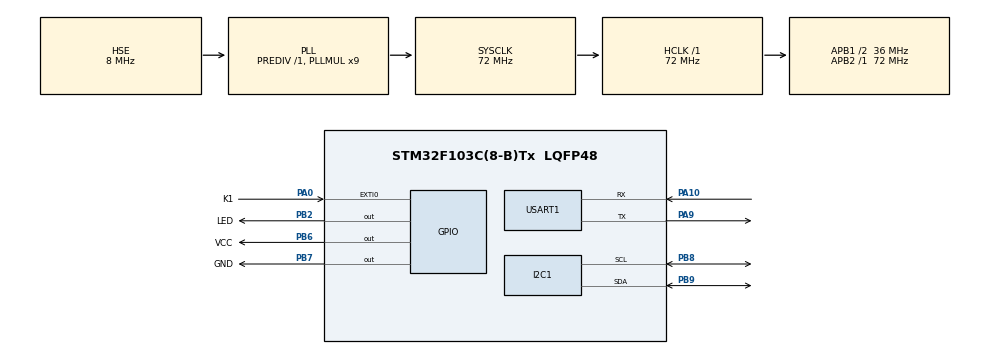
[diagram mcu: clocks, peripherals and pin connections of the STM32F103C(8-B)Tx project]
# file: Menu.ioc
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I2C1.I2C_Mode=I2C_Fast
Mcu.Family=STM32F1
Mcu.Name=STM32F103C(8-B)Tx
Mcu.Package=LQFP48
NVIC.EXTI0_IRQn=true\:0\:0\:false\:false\:true\:true\:true\:true
NVIC.PriorityGroup=NVIC_PRIORITYGROUP_4
PA0-WKUP.GPIO_Label=K1
PA0-WKUP.GPIO_PuPd=GPIO_PULLDOWN
PA0-WKUP.Signal=GPXTI0
PA10.Mode=Asynchronous
PA10.Signal=USART1_RX
PA13.Mode=Serial_Wire
PA13.Signal=SYS_JTMS-SWDIO
PA14.Mode=Serial_Wire
PA14.Signal=SYS_JTCK-SWCLK
PA9.Mode=Asynchronous
PA9.Signal=USART1_TX
PB2.GPIO_Label=LED
PB2.Signal=GPIO_Output
PB6.GPIO_Label=VCC
PB6.GPIO_Speed=GPIO_SPEED_FREQ_LOW
PB6.PinState=GPIO_PIN_SET
PB6.Signal=GPIO_Output
PB7.GPIO_Label=GND
PB7.Signal=GPIO_Output
PB8.Mode=I2C
PB8.Signal=I2C1_SCL
PB9.Mode=I2C
PB9.Signal=I2C1_SDA
PD0-OSC_IN.Mode=HSE-External-Oscillator
PD0-OSC_IN.Signal=RCC_OSC_IN
PD1-OSC_OUT.Mode=HSE-External-Oscillator
PD1-OSC_OUT.Signal=RCC_OSC_OUT
ProjectManager.HeapSize=0x200
ProjectManager.StackSize=0x400
ProjectManager.TargetToolchain=Makefile
RCC.AHBFreq_Value=72000000
RCC.APB1CLKDivider=RCC_HCLK_DIV2
RCC.APB1Freq_Value=36000000
RCC.APB1TimFreq_Value=72000000
RCC.APB2Freq_Value=72000000
RCC.APB2TimFreq_Value=72000000
RCC.HCLKFreq_Value=72000000
RCC.PLLMUL=RCC_PLL_MUL9
RCC.PLLSourceVirtual=RCC_PLLSOURCE_HSE
RCC.SYSCLKFreq_VALUE=72000000
RCC.SYSCLKSource=RCC_SYSCLKSOURCE_PLLCLK
RCC.USBFreq_Value=72000000
USART1.VirtualMode=VM_ASYNC
board=custom

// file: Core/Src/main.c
/* USER CODE BEGIN Header */
/**
  ******************************************************************************
  * @file           : main.c
  * @brief          : Main program body
  ******************************************************************************
  * @attention
  *
  * Copyright (c) 2024 STMicroelectronics.
  * All rights reserved.
  *
  * This software is licensed under terms that can be found in the LICENSE file
  * in the root directory of this software component.
  * If no LICENSE file comes with this software, it is provided AS-IS.
  *
  ******************************************************************************
  */
/* USER CODE END Header */
#include "main.h"
#include "i2c.h"
#include "usart.h"
#include "gpio.h"

/* USER CODE BEGIN Includes */
#include "ssd1306.h"
#include "MENU.h"

/* USER CODE END Includes */

/* USER CODE BEGIN PV */
uint16_t key = 0;
Key_event KEY = {
        0,
        0,
        0,
        0,
        0,
        0,
        0,
};
/* USER CODE END PV */

void SystemClock_Config(void);
/* USER CODE BEGIN PFP */
void LoadUI(void);
/* USER CODE END PFP */

int main(void)
{

  /* MCU Configuration--------------------------------------------------------*/

  /* Reset of all peripherals, Initializes the Flash interface and the Systick. */
  HAL_Init();

  /* Configure the system clock */
  SystemClock_Config();

  /* Initialize all configured peripherals */
  MX_GPIO_Init();
  MX_I2C1_Init();
  MX_USART1_UART_Init();
  /* USER CODE BEGIN 2 */
  LoadUI();
  /* USER CODE END 2 */

  /* Infinite loop */
  while (1)
  {

    /* USER CODE BEGIN 3 */
    MENU_RunMainMenu();
  }
  /* USER CODE END 3 */
}

void SystemClock_Config(void)
{
  RCC_OscInitTypeDef RCC_OscInitStruct = {0};
  RCC_ClkInitTypeDef RCC_ClkInitStruct = {0};

  /** Initializes the RCC Oscillators according to the specified parameters
  * in the RCC_OscInitTypeDef structure.
  */
  RCC_OscInitStruct.OscillatorType = RCC_OSCILLATORTYPE_HSE;
  RCC_OscInitStruct.HSEState = RCC_HSE_ON;
  RCC_OscInitStruct.HSEPredivValue = RCC_HSE_PREDIV_DIV1;
  RCC_OscInitStruct.HSIState = RCC_HSI_ON;
  RCC_OscInitStruct.PLL.PLLState = RCC_PLL_ON;
  RCC_OscInitStruct.PLL.PLLSource = RCC_PLLSOURCE_HSE;
  RCC_OscInitStruct.PLL.PLLMUL = RCC_PLL_MUL9;
  if (HAL_RCC_OscConfig(&RCC_OscInitStruct) != HAL_OK)
  {
    Error_Handler();
  }

  /** Initializes the CPU, AHB and APB buses clocks
  */
  RCC_ClkInitStruct.ClockType = RCC_CLOCKTYPE_HCLK|RCC_CLOCKTYPE_SYSCLK
                              |RCC_CLOCKTYPE_PCLK1|RCC_CLOCKTYPE_PCLK2;
  RCC_ClkInitStruct.SYSCLKSource = RCC_SYSCLKSOURCE_PLLCLK;
  RCC_ClkInitStruct.AHBCLKDivider = RCC_SYSCLK_DIV1;
  RCC_ClkInitStruct.APB1CLKDivider = RCC_HCLK_DIV2;
  RCC_ClkInitStruct.APB2CLKDivider = RCC_HCLK_DIV1;

  if (HAL_RCC_ClockConfig(&RCC_ClkInitStruct, FLASH_LATENCY_2) != HAL_OK)
  {
    Error_Handler();
  }
}

/* USER CODE BEGIN 4 */
void LoadUI(void)
{
    ssd1306_Init();
    if (hi2c1.Instance->SR2 & I2C_SR2_BUSY) {
    // I2C is busy, perform reset or re-initialization
    HAL_I2C_DeInit(&hi2c1);
    HAL_Delay(1); // Add a small delay to ensure deinitialization is complete
    MX_I2C1_Init();
    ssd1306_Init();
  }
    HAL_GPIO_TogglePin(LED_GPIO_Port,LED_Pin);
		ssd1306_SetCursor(12,20);
		ssd1306_WriteString("LED ON", Font_16x26, White);
    for(int i=0 ; i<12; i++)
	  {
			ssd1306_DrawArcWithRadiusLine(63, 32, 28, i*30, (i+1)*30, White);
			HAL_Delay(100);
			ssd1306_UpdateScreen();
		}
		HAL_Delay(500);
		ssd1306_Fill(Black);
		ssd1306_UpdateScreen();
}

void UpdateDisplayOnButtonPress(void)
{
    static uint8_t event_cnt = 0;
    if ( KEY.update ) {event_cnt = (event_cnt + 1)%2; KEY.update = 0;}
    switch (event_cnt)
    {
      case 0:
        KEY.Down = 1;
      break;
      case 1:
        KEY.Up =   1;
      break;
      case 2:
        KEY.Enter = 1;
      break;
      default:
      break;
    }

}

void HAL_GPIO_EXTI_Callback(uint16_t GPIO_Pin)
{
    switch (GPIO_Pin)
    {
        case K1_Pin:
          if ( HAL_GPIO_ReadPin(K1_GPIO_Port, K1_Pin) == SET)
          {
              UpdateDisplayOnButtonPress();
          }
        break;
        default:
        break;
    }
}
/* USER CODE END 4 */

void Error_Handler(void)
{
  __disable_irq();
  while (1)
  {
  }
}
